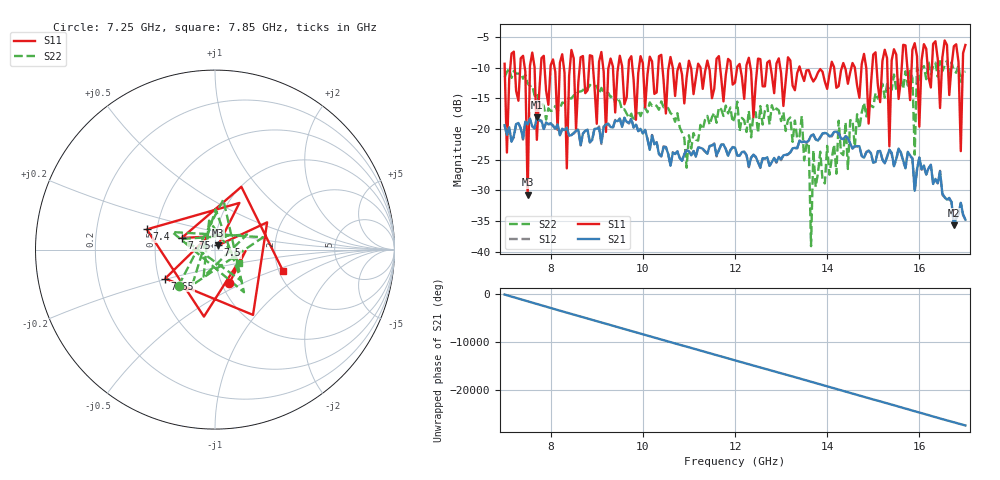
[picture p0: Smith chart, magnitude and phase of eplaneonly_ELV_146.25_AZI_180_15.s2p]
! 10/29/2026 5:15:13 PM
! C:\ANRITSUVNA\TEMP\TEMP.S2P
! CHANNEL.1
! TR.MEASUREMENT
! RAW.DATA
# HZ S RI R 50.0
! FREQ.HZ  S11RE  S11IM  S21RE  S21IM  S12RE  S12IM  S22RE  S22IM
!; PortSelection: Port_12
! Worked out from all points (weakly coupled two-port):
!   201 points, 7 GHz to 17 GHz, reference 50 ohm
!   highest |S21| = -18.08 dB at 7.7 GHz (marker M1); lowest = -35.7 dB at 16.75 GHz (marker M2)
!   lowest |S11| = -30.7 dB at 7.5 GHz (marker M3), VSWR 1.06, Z = 51.7 + j2.44 ohm
!   |S11| at or under -10 dB: 8.287 GHz to 8.416 GHz (128.6 MHz wide, 1.54 % of centre); 9.14 GHz to 9.255 GHz (114.7 MHz wide, 1.25 % of centre); 13.41 GHz to 14.08 GHz (666.7 MHz wide, 4.85 % of centre) (the widest 3 of 44)
!   |S22| runs from -39.1 to -8.8 dB; largest |S21 - S12| = 0.044
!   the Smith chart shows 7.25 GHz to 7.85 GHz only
!   S11 on the Smith chart (normalised r, x): 7.25 GHz: 1.08, -0.43; 7.4 GHz: 0.44, +0.12; 7.5 GHz: 1.03, +0.05; 7.65 GHz: 0.54, -0.19; 7.75 GHz: 0.68, +0.09; 7.85 GHz: 2.11, -0.59
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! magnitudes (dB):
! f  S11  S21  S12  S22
! 7 GHz  -9.3  -19.4  -19.4  -11.5
! 7.25 GHz  -13.8  -19.2  -19.2  -10.9
! 7.4 GHz  -8.0  -21.5  -21.7  -11.8
! 7.5 GHz  -30.7  -19.2  -19.3  -12.6
! 7.65 GHz  -9.9  -19.8  -19.9  -14.6
! 7.7 GHz  -21.8  -18.1  -18.2  -14.1
! 7.75 GHz  -14.1  -18.5  -18.5  -15.7
! 7.85 GHz  -8.0  -20.0  -20.0  -16.2
! 8.25 GHz  -7.8  -19.9  -20.2  -15.7
! 8.35 GHz  -26.4  -19.8  -19.8  -15.0
! 8.7 GHz  -8.1  -20.7  -20.7  -13.7
! 10.35 GHz  -8.1  -24.1  -24.0  -16.8
! 12 GHz  -12.4  -23.0  -23.1  -17.9
! 13.45 GHz  -11.1  -22.1  -22.1  -17.8
! 13.65 GHz  -11.5  -21.1  -21.1  -39.1
! 13.7 GHz  -12.2  -20.9  -21.0  -23.4
! 15.25 GHz  -7.1  -25.6  -25.6  -14.9
! 15.35 GHz  -22.8  -23.4  -23.4  -13.1
! 15.45 GHz  -7.0  -26.1  -26.0  -11.1
! 16.75 GHz  -6.5  -35.7  -35.8  -10.5
! 16.9 GHz  -23.6  -32.1  -32.0  -12.3
! 17 GHz  -6.3  -34.8  -34.8  -10.6
